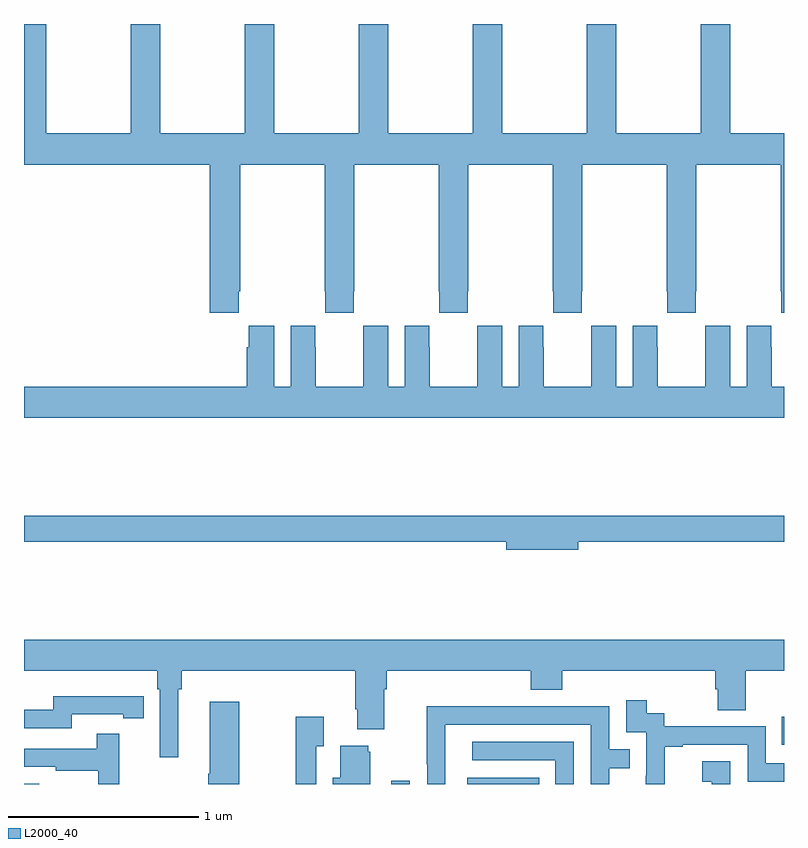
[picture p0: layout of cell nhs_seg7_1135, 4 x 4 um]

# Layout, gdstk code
import gdstk
lib = gdstk.Library(unit=1e-6, precision=1e-09)
def R(c, l, rs):  # rectangles x0, y0, x1, y1
    for r in rs: c.add(gdstk.rectangle(r[:2], r[2:], *l))
def P(c, l, *ps):  # polygons
    for p in ps: c.add(gdstk.Polygon(p, *l))
L2000_40 = (2000, 40)

nhs_seg7_1135 = lib.new_cell('nhs_seg7_1135')
R(nhs_seg7_1135, L2000_40, [(191,1020,191.08,1020.001), (192.933,1020,193.029,1020.016), (193.334,1020,193.712,1020.034), (194.989,1020.207,195,1020.355)])
P(nhs_seg7_1135, L2000_40, [(193.783,1022.593),(193.785,1022.593),(193.785,1022.481),(193.935,1022.481),(193.935,1022.593),(193.938,1022.593),(193.938,1023.26),(194.383,1023.26),(194.383,1022.593),(194.385,1022.593),(194.385,1022.481),(194.535,1022.481),(194.535,1022.593),(194.538,1022.593),(194.538,1023.26),(194.983,1023.26),(194.983,1022.593),(194.985,1022.593),(194.985,1022.481),(195,1022.481),(195,1023.424),(194.718,1023.424),(194.718,1024),(194.563,1024),(194.563,1023.424),(194.118,1023.424),(194.118,1024),(193.963,1024),(193.963,1023.424),(193.518,1023.424),(193.518,1024),(193.363,1024),(193.363,1023.424),(192.918,1023.424),(192.918,1024),(192.763,1024),(192.763,1023.424),(192.318,1023.424),(192.318,1024),(192.163,1024),(192.163,1023.424),(191.718,1023.424),(191.718,1024),(191.563,1024),(191.563,1023.424),(191.118,1023.424),(191.118,1024),(191,1024),(191,1023.26),(191.978,1023.26),(191.978,1022.481),(192.131,1022.481),(192.131,1022.593),(192.138,1022.593),(192.138,1023.26),(192.583,1023.26),(192.583,1022.593),(192.585,1022.593),(192.585,1022.481),(192.735,1022.481),(192.735,1022.593),(192.738,1022.593),(192.738,1023.26),(193.183,1023.26),(193.183,1022.593),(193.185,1022.593),(193.185,1022.481),(193.335,1022.481),(193.335,1022.593),(193.338,1022.593),(193.338,1023.26),(193.783,1023.26)],
  [(195,1022.092),(194.935,1022.092),(194.935,1022.3),(194.934,1022.3),(194.934,1022.413),(194.804,1022.413),(194.804,1022.092),(194.716,1022.092),(194.716,1022.413),(194.586,1022.413),(194.586,1022.3),(194.585,1022.3),(194.585,1022.092),(194.335,1022.092),(194.335,1022.3),(194.334,1022.3),(194.334,1022.413),(194.204,1022.413),(194.204,1022.092),(194.116,1022.092),(194.116,1022.413),(193.986,1022.413),(193.986,1022.3),(193.985,1022.3),(193.985,1022.092),(193.735,1022.092),(193.735,1022.3),(193.734,1022.3),(193.734,1022.413),(193.604,1022.413),(193.604,1022.092),(193.516,1022.092),(193.516,1022.413),(193.386,1022.413),(193.386,1022.3),(193.385,1022.3),(193.385,1022.092),(193.135,1022.092),(193.135,1022.3),(193.134,1022.3),(193.134,1022.413),(193.004,1022.413),(193.004,1022.092),(192.916,1022.092),(192.916,1022.413),(192.786,1022.413),(192.786,1022.3),(192.785,1022.3),(192.785,1022.092),(192.535,1022.092),(192.535,1022.3),(192.534,1022.3),(192.534,1022.413),(192.404,1022.413),(192.404,1022.092),(192.316,1022.092),(192.316,1022.413),(192.182,1022.413),(192.182,1022.3),(192.173,1022.3),(192.173,1022.092),(191,1022.092),(191,1021.928),(195,1021.928)],
  [(193.918,1021.276),(195,1021.276),(195,1021.412),(191,1021.412),(191,1021.276),(193.538,1021.276),(193.538,1021.234),(193.918,1021.234)],
  [(191,1020.596),(191.702,1020.596),(191.702,1020.5),(191.715,1020.5),(191.715,1020.141),(191.812,1020.141),(191.812,1020.5),(191.831,1020.5),(191.831,1020.596),(192.743,1020.596),(192.743,1020.394),(192.755,1020.394),(192.755,1020.287),(192.895,1020.287),(192.895,1020.5),(192.908,1020.5),(192.908,1020.596),(193.667,1020.596),(193.667,1020.497),(193.832,1020.497),(193.832,1020.596),(194.639,1020.596),(194.639,1020.498),(194.651,1020.498),(194.651,1020.388),(194.799,1020.388),(194.799,1020.596),(195,1020.596),(195,1020.76),(191,1020.76)],
  [(191.25,1020.366),(191.522,1020.366),(191.522,1020.346),(191.63,1020.346),(191.63,1020.462),(191.522,1020.462),(191.522,1020.463),(191.154,1020.463),(191.154,1020.39),(191,1020.39),(191,1020.294),(191.25,1020.294)],
  [(194.372,1020.195),(194.467,1020.195),(194.467,1020.207),(194.808,1020.207),(194.808,1020.012),(195,1020.012),(195,1020.108),(194.904,1020.108),(194.904,1020.303),(194.37,1020.303),(194.37,1020.372),(194.278,1020.372),(194.278,1020.442),(194.169,1020.442),(194.169,1020.273),(194.274,1020.273),(194.274,1020.044),(194.273,1020.044),(194.273,1020),(194.372,1020)],
  [(192.132,1020.433),(191.978,1020.433),(191.978,1020.053),(191.971,1020.053),(191.971,1020),(192.132,1020)],
  [(193.218,1020.312),(193.983,1020.312),(193.983,1020),(194.079,1020),(194.079,1020.082),(194.189,1020.082),(194.189,1020.183),(194.079,1020.183),(194.079,1020.408),(193.583,1020.408),(193.583,1020.41),(193.12,1020.41),(193.12,1020.103),(193.122,1020.103),(193.122,1020),(193.218,1020)],
  [(192.537,1020.199),(192.577,1020.199),(192.577,1020.355),(192.429,1020.355),(192.429,1020),(192.537,1020)],
  [(191.501,1020.265),(191.383,1020.265),(191.383,1020.186),(191,1020.186),(191,1020.09),(191.167,1020.09),(191.167,1020.07),(191.391,1020.07),(191.391,1020),(191.501,1020)],
  [(193.893,1020.222),(193.359,1020.222),(193.359,1020.126),(193.797,1020.126),(193.797,1020),(193.893,1020)],
  [(192.823,1020.171),(192.812,1020.171),(192.812,1020.202),(192.665,1020.202),(192.665,1020.034),(192.626,1020.034),(192.626,1020),(192.823,1020)],
  [(194.718,1020.121),(194.571,1020.121),(194.571,1020.011),(194.62,1020.011),(194.62,1020),(194.718,1020)])

lib.write_gds('nhs_seg7_1135.gds')
